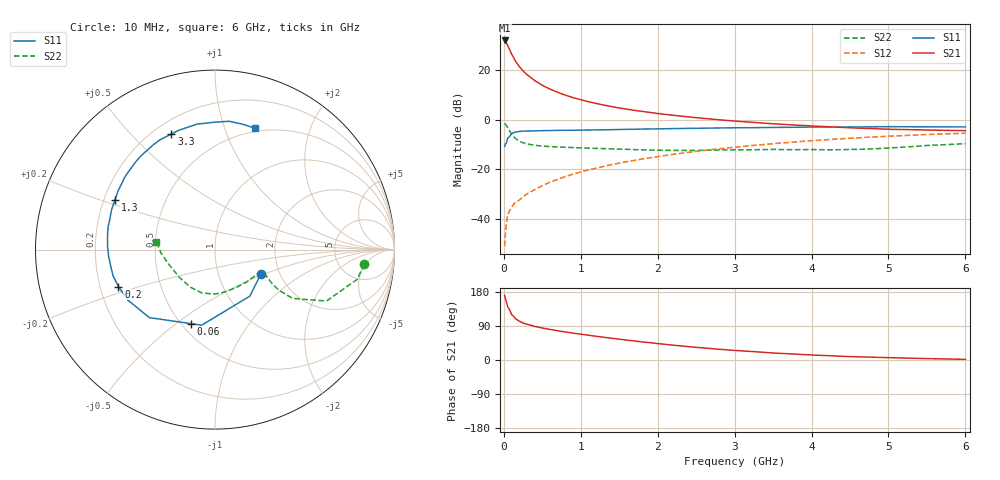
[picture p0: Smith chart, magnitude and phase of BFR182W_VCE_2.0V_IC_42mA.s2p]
! (c) 2017  Infineon Technologies AG, Munich
! Infineon Technologies  Discrete & RF Semiconductors
! BFR182W
! VCE =  2.0 V,  IC =  42 mA
! Common Emitter S-Parameters:  Jan 2017
# GHz  S  MA  R  50
!  f  S11  S21  S12  S22
! GHz  MAG  ANG  MAG  ANG  MAG  ANG  MAG  ANG
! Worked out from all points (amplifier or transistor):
!   77 points, 10 MHz to 6 GHz, reference 50 ohm
!   highest |S21| = 31.7 dB at 10 MHz (marker M1)
!   |S21| within 3 dB of that: start of sweep to 64.87 MHz
!   unconditionally stable (mu >= 1): start of sweep to 14.28 MHz; 233.8 MHz to 3.225 GHz; 4.737 GHz to end of sweep
!   at 130 MHz: K = 0.75, MSG = 29.3 dB, |S12| = -33.9 dB
!   at 2.2 GHz: K = 1.09, MAG = 6.0 dB, |S12| = -14.0 dB
!   at 6 GHz: K = 1.04, MAG = -0.6 dB, |S12| = -5.5 dB
!   S11 on the Smith chart (normalised r, x): 10 MHz: 1.59, -0.48; 60 MHz: 0.56, -0.57; 200 MHz: 0.28, -0.17; 1.3 GHz: 0.25, +0.22; 3.3 GHz: 0.27, +0.66; 6 GHz: 0.47, +1.28
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0.01  0.2897 -28.6  38.4 170.7  0.0029 72.4  0.8351 -5.6
0.02  0.324 -53.2  37.63 162.1  0.0049 77.8  0.8099 -11.8
0.05  0.4276 -100.0  30.42 140.4  0.0122 61.5  0.6845 -24.7
0.06  0.4335 -107.8  28.23 137.5  0.0132 59.9  0.6489 -25.9
0.1  0.5268 -134.0  20.57 119.9  0.0175 55.6  0.5103 -32.2
0.15  0.5613 -150.0  14.92 109.2  0.0219 55.0  0.417 -32.4
0.2  0.5764 -159.1  11.58 102.6  0.0243 59.1  0.3698 -30.7
0.25  0.586 -165.4  9.433 97.7  0.0283 60.1  0.3418 -28.9
0.3  0.5877 -169.9  7.92 94.3  0.0322 62.4  0.3241 -27.5
0.4  0.594 -176.4  6.03 88.7  0.0393 65.6  0.3048 -25.7
0.5  0.5986 178.5  4.85 84.4  0.0472 68.4  0.2937 -25.4
0.6  0.6019 174.2  4.072 80.6  0.0555 69.9  0.2868 -25.7
0.7  0.6056 170.9  3.505 77.3  0.063 71.7  0.2815 -26.4
0.9  0.6092 164.4  2.745 71.0  0.0805 72.5  0.274 -29.2
1.1  0.6172 158.9  2.276 65.4  0.0978 72.9  0.2677 -32.8
1.3  0.6222 153.5  1.945 60.0  0.1151 72.7  0.2615 -37.0
2.1  0.6536 134.7  1.268 41.3  0.1903 67.8  0.2414 -60.7
3.1  0.6847 114.6  0.908 24.0  0.2884 58.5  0.2473 -94.6
3.3  0.6882 110.7  0.864 21.4  0.308 56.4  0.2485 -100.8
4.1  0.7059 96.6  0.731 12.4  0.3852 47.2  0.2486 -126.9
5.1  0.7178 82.4  0.634 5.7  0.4702 35.1  0.2741 -164.8
6  0.7114 71.7  0.598 1.7  0.5322 24.4  0.329 172.5
